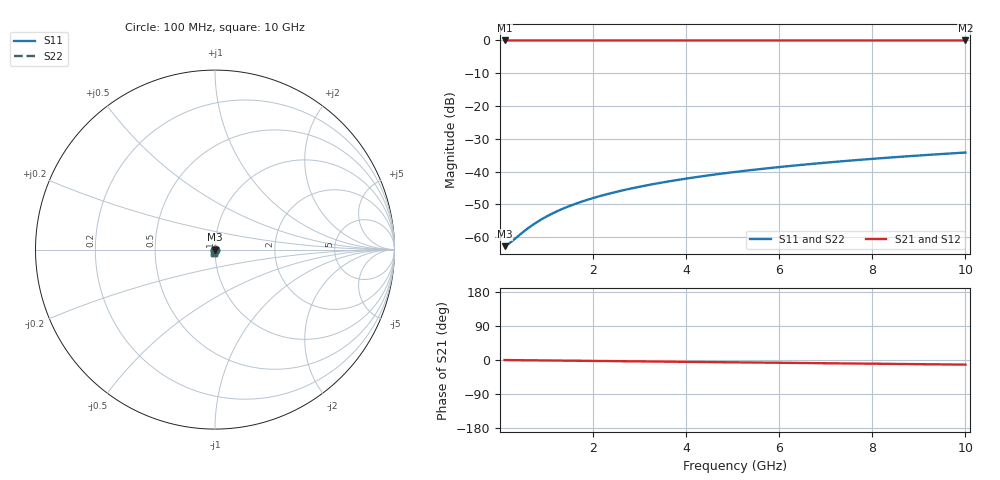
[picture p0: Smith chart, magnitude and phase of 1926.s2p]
# Hz S RI R 50.00
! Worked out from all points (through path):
!   100 points, 100 MHz to 10 GHz, reference 50 ohm
!   highest |S21| = -0.01 dB at 100 MHz (marker M1); lowest = 0.0 dB at 10 GHz (marker M2)
!   group delay of S21, straight-line fit = 3.4 ps
!   lowest |S11| = -62.7 dB at 100 MHz (marker M3), VSWR 1.00, Z = 50.1 - j0.0196 ohm
!   |S11| at or under -10 dB: start of sweep to end of sweep
!   |S22| runs from -62.7 to -34.2 dB; largest |S21 - S12| = 0
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1e8  0.000705 -0.000196  0.9993 -0.00212  0.9993 -0.00212  0.000705 -0.000196
2e8  0.000708 -0.000391  0.9993 -0.00424  0.9993 -0.00424  0.000708 -0.000391
5e8  0.000704 -0.000979  0.9992 -0.0106  0.9992 -0.0106  0.000704 -0.000979
6e8  0.000701 -0.00117  0.9992 -0.0127  0.9992 -0.0127  0.000701 -0.00117
7e8  0.000697 -0.00137  0.9992 -0.0148  0.9992 -0.0148  0.000697 -0.00137
9e8  0.000685 -0.00176  0.9991 -0.0191  0.9991 -0.0191  0.000685 -0.00176
1.1e9  0.000669 -0.00215  0.999 -0.0233  0.999 -0.0233  0.000669 -0.00215
1.3e9  0.00065 -0.00255  0.9989 -0.0276  0.9989 -0.0276  0.00065 -0.00255
1.5e9  0.000627 -0.00294  0.9987 -0.0318  0.9987 -0.0318  0.000627 -0.00294
1.8e9  0.000586 -0.00353  0.9985 -0.0382  0.9985 -0.0382  0.000586 -0.00353
2.1e9  0.000538 -0.00411  0.9982 -0.0445  0.9982 -0.0445  0.000538 -0.00411
2.5e9  0.000461 -0.0049  0.9978 -0.053  0.9978 -0.053  0.000461 -0.0049
2.9e9  0.000371 -0.00568  0.9973 -0.0615  0.9973 -0.0615  0.000371 -0.00568
3.4e9  0.000239 -0.00666  0.9966 -0.0721  0.9966 -0.0721  0.000239 -0.00666
3.8e9  0.000118 -0.00744  0.9959 -0.0806  0.9959 -0.0806  0.000118 -0.00744
4.2e9  -1.61e-05 -0.00823  0.9952 -0.0891  0.9952 -0.0891  -1.61e-05 -0.00823
5.1e9  -0.000367 -0.00998  0.9932 -0.1082  0.9932 -0.1082  -0.000367 -0.00998
5.9e9  -0.000736 -0.0115  0.9912 -0.1251  0.9912 -0.1251  -0.000736 -0.0115
6.7e9  -0.00116 -0.0131  0.9889 -0.142  0.9889 -0.142  -0.00116 -0.0131
7.5e9  -0.00163 -0.0146  0.9863 -0.1589  0.9863 -0.1589  -0.00163 -0.0146
8.4e9  -0.00223 -0.0163  0.983 -0.1779  0.983 -0.1779  -0.00223 -0.0163
1e10  -0.00346 -0.0193  0.9762 -0.2115  0.9762 -0.2115  -0.00346 -0.0193
